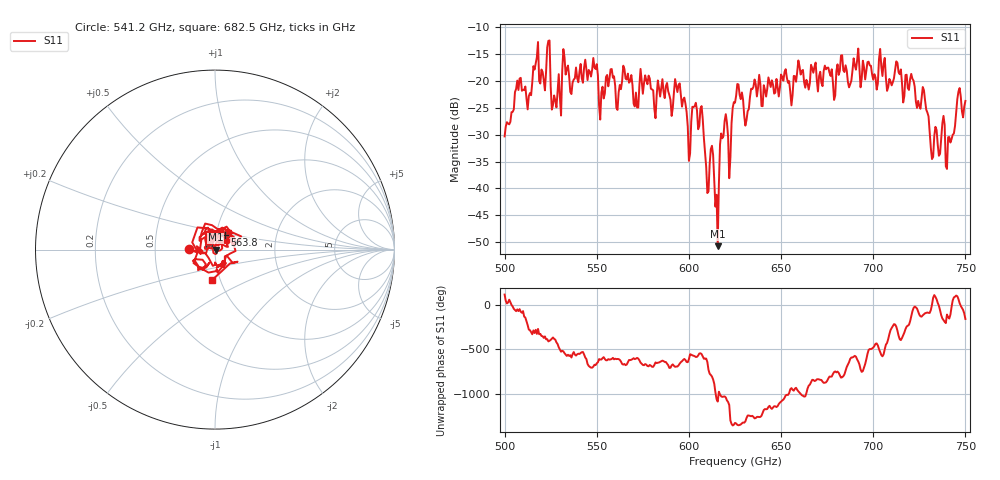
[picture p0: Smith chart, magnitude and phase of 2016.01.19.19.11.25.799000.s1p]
!Created with skrf (http://scikit-rf.org).
# GHz S RI R 50.0
!freq ReS11 ImS11
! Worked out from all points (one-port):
!   401 points, 500 GHz to 750 GHz, reference 50 ohm
!   lowest |S11| = -50.8 dB at 615.6 GHz (marker M1), VSWR 1.01, Z = 50.3 - j0.0174 ohm
!   |S11| at or under -10 dB: start of sweep to end of sweep
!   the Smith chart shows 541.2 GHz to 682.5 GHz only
!   S11 on the Smith chart (normalised r, x): 541.2 GHz: 0.75, +0.01; 563.8 GHz: 1.10, +0.18; 682.5 GHz: 0.91, -0.32
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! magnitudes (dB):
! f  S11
! 500 GHz  -30.3
! 507.5 GHz  -21.7
! 513.1 GHz  -22.8
! 516.9 GHz  -16.7
! 523.8 GHz  -12.5
! 526.9 GHz  -22.7
! 531.2 GHz  -18.1
! 541.2 GHz  -16.8
! 562.5 GHz  -20.8
! 563.8 GHz  -20.0
! 571.2 GHz  -22.2
! 593.8 GHz  -22.1
! 600 GHz  -34.9
! 606.9 GHz  -24.7
! 609.4 GHz  -36.0
! 615.6 GHz  -50.8
! 618.1 GHz  -30.7
! 622.5 GHz  -34.3
! 625 GHz  -24.1
! 656.2 GHz  -22.6
! 682.5 GHz  -15.3
! 687.5 GHz  -20.6
! 718.8 GHz  -21.3
! 728.1 GHz  -23.7
! 731.9 GHz  -34.5
! 740.6 GHz  -30.5
! 746.2 GHz  -22.0
! 750 GHz  -23.7
